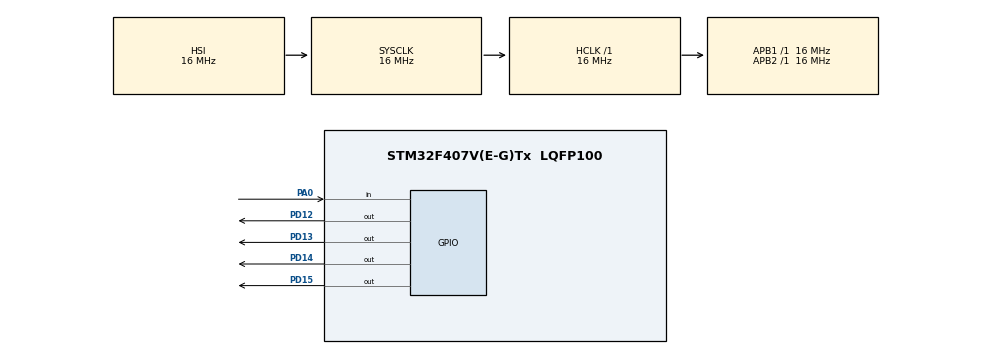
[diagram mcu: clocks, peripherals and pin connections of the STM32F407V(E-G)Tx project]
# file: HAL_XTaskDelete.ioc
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FREERTOS.Tasks01=defaultTask,0,128,StartDefaultTask,Default,NULL,Dynamic,NULL,NULL
Mcu.Family=STM32F4
Mcu.Name=STM32F407V(E-G)Tx
Mcu.Package=LQFP100
NVIC.PriorityGroup=NVIC_PRIORITYGROUP_4
NVIC.TIM7_IRQn=true\:15\:0\:false\:false\:true\:false\:false\:true\:true
NVIC.TimeBase=TIM7_IRQn
NVIC.TimeBaseIP=TIM7
PA0-WKUP.Signal=GPIO_Input
PD12.Signal=GPIO_Output
PD13.Signal=GPIO_Output
PD14.Signal=GPIO_Output
PD15.Signal=GPIO_Output
ProjectManager.HeapSize=0x200
ProjectManager.StackSize=0x400
ProjectManager.TargetToolchain=Makefile
RCC.AHBFreq_Value=16000000
RCC.APB1Freq_Value=16000000
RCC.APB2Freq_Value=16000000
RCC.CortexFreq_Value=16000000
RCC.HSE_VALUE=25000000
RCC.HSI_VALUE=16000000
RCC.LSE_VALUE=32768
RCC.SYSCLKFreq_VALUE=16000000
RCC.VCOOutputFreq_Value=192000000
VP_FREERTOS_VS_CMSIS_V1.Mode=CMSIS_V1
VP_SYS_VS_tim7.Mode=TIM7
board=custom

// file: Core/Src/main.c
/* USER CODE BEGIN Header */
/**
  ******************************************************************************
  * @file           : main.c
  * @brief          : Main program body
  ******************************************************************************
  * @attention
  *
  * Copyright (c) 2026 STMicroelectronics.
  * All rights reserved.
  *
  * This software is licensed under terms that can be found in the LICENSE file
  * in the root directory of this software component.
  * If no LICENSE file comes with this software, it is provided AS-IS.
  *
  ******************************************************************************
  */
/* USER CODE END Header */
#include "main.h"
#include "cmsis_os.h"

osThreadId defaultTaskHandle;
/* USER CODE BEGIN PV */
TaskHandle_t task1Handle = NULL;
TaskHandle_t task2Handle = NULL;

/* USER CODE END PV */

void SystemClock_Config(void);
static void MX_GPIO_Init(void);
void StartDefaultTask(void const * argument);

/* USER CODE BEGIN 0 */
void Task1Handler (void *params);
void Task2Handler (void *params);

/* USER CODE END 0 */

int main(void)
{

  /* MCU Configuration--------------------------------------------------------*/

  /* Reset of all peripherals, Initializes the Flash interface and the Systick. */
  HAL_Init();

  /* Configure the system clock */
  SystemClock_Config();

  /* Initialize all configured peripherals */
  MX_GPIO_Init();
  /* USER CODE BEGIN 2 */
  xTaskCreate(Task1Handler, "Task 1", configMINIMAL_STACK_SIZE, NULL, 4, &task1Handle);
  xTaskCreate(Task2Handler, "Task 2", configMINIMAL_STACK_SIZE, NULL, 3, &task2Handle);

  /* USER CODE END 2 */

  /* Create the thread(s) */
  /* definition and creation of defaultTask */
  osThreadDef(defaultTask, StartDefaultTask, osPriorityNormal, 0, 128);
  defaultTaskHandle = osThreadCreate(osThread(defaultTask), NULL);

  /* Start scheduler */
  vTaskStartScheduler();

  /* We should never get here as control is now taken by the scheduler */

  /* Infinite loop */
  while (1)
  {

  }
}

void SystemClock_Config(void)
{
  RCC_OscInitTypeDef RCC_OscInitStruct = {0};
  RCC_ClkInitTypeDef RCC_ClkInitStruct = {0};

  /** Configure the main internal regulator output voltage
  */
  __HAL_RCC_PWR_CLK_ENABLE();
  __HAL_PWR_VOLTAGESCALING_CONFIG(PWR_REGULATOR_VOLTAGE_SCALE1);

  /** Initializes the RCC Oscillators according to the specified parameters
  * in the RCC_OscInitTypeDef structure.
  */
  RCC_OscInitStruct.OscillatorType = RCC_OSCILLATORTYPE_HSI;
  RCC_OscInitStruct.HSIState = RCC_HSI_ON;
  RCC_OscInitStruct.HSICalibrationValue = RCC_HSICALIBRATION_DEFAULT;
  RCC_OscInitStruct.PLL.PLLState = RCC_PLL_NONE;
  if (HAL_RCC_OscConfig(&RCC_OscInitStruct) != HAL_OK)
  {
    Error_Handler();
  }

  /** Initializes the CPU, AHB and APB buses clocks
  */
  RCC_ClkInitStruct.ClockType = RCC_CLOCKTYPE_HCLK|RCC_CLOCKTYPE_SYSCLK
                              |RCC_CLOCKTYPE_PCLK1|RCC_CLOCKTYPE_PCLK2;
  RCC_ClkInitStruct.SYSCLKSource = RCC_SYSCLKSOURCE_HSI;
  RCC_ClkInitStruct.AHBCLKDivider = RCC_SYSCLK_DIV1;
  RCC_ClkInitStruct.APB1CLKDivider = RCC_HCLK_DIV1;
  RCC_ClkInitStruct.APB2CLKDivider = RCC_HCLK_DIV1;

  if (HAL_RCC_ClockConfig(&RCC_ClkInitStruct, FLASH_LATENCY_0) != HAL_OK)
  {
    Error_Handler();
  }
}

static void MX_GPIO_Init(void)
{
  GPIO_InitTypeDef GPIO_InitStruct = {0};

  /* GPIO Ports Clock Enable */
  __HAL_RCC_GPIOA_CLK_ENABLE();
  __HAL_RCC_GPIOD_CLK_ENABLE();

  /*Configure GPIO pin Output Level */
  HAL_GPIO_WritePin(GPIOD, GPIO_PIN_12|GPIO_PIN_13|GPIO_PIN_14|GPIO_PIN_15, GPIO_PIN_RESET);

  /*Configure GPIO pin : PA0 */
  GPIO_InitStruct.Pin = GPIO_PIN_0;
  GPIO_InitStruct.Mode = GPIO_MODE_INPUT;
  GPIO_InitStruct.Pull = GPIO_NOPULL;
  HAL_GPIO_Init(GPIOA, &GPIO_InitStruct);

  /*Configure GPIO pins : PD12 PD13 PD14 PD15 */
  GPIO_InitStruct.Pin = GPIO_PIN_12|GPIO_PIN_13|GPIO_PIN_14|GPIO_PIN_15;
  GPIO_InitStruct.Mode = GPIO_MODE_OUTPUT_PP;
  GPIO_InitStruct.Pull = GPIO_NOPULL;
  GPIO_InitStruct.Speed = GPIO_SPEED_FREQ_LOW;
  HAL_GPIO_Init(GPIOD, &GPIO_InitStruct);

}

/* USER CODE BEGIN 4 */

void Task1Handler (void *params)
{
  for (;;)
  {
    HAL_GPIO_TogglePin(GPIOD, GPIO_PIN_12 | GPIO_PIN_13);
    vTaskDelay(pdMS_TO_TICKS(1000));

    if (HAL_GPIO_ReadPin(GPIOA, GPIO_PIN_0))
    {
      vTaskDelay(200);
      if (HAL_GPIO_ReadPin(GPIOA, GPIO_PIN_0))
      {
        vTaskDelete(task1Handle);
      }
    }

  }
}

void Task2Handler (void *params)
{
  for (;;)
  {
    HAL_GPIO_TogglePin(GPIOD, GPIO_PIN_14 | GPIO_PIN_15);
    vTaskDelay(pdMS_TO_TICKS(500));
  }
}
/* USER CODE END 4 */

void StartDefaultTask(void const * argument)
{
  for(;;)
  {
    osDelay(1);
  }
}

void HAL_TIM_PeriodElapsedCallback(TIM_HandleTypeDef *htim)
{
  if (htim->Instance == TIM7)
  {
    HAL_IncTick();
  }
}

void Error_Handler(void)
{
  __disable_irq();
  while (1)
  {
  }
}
